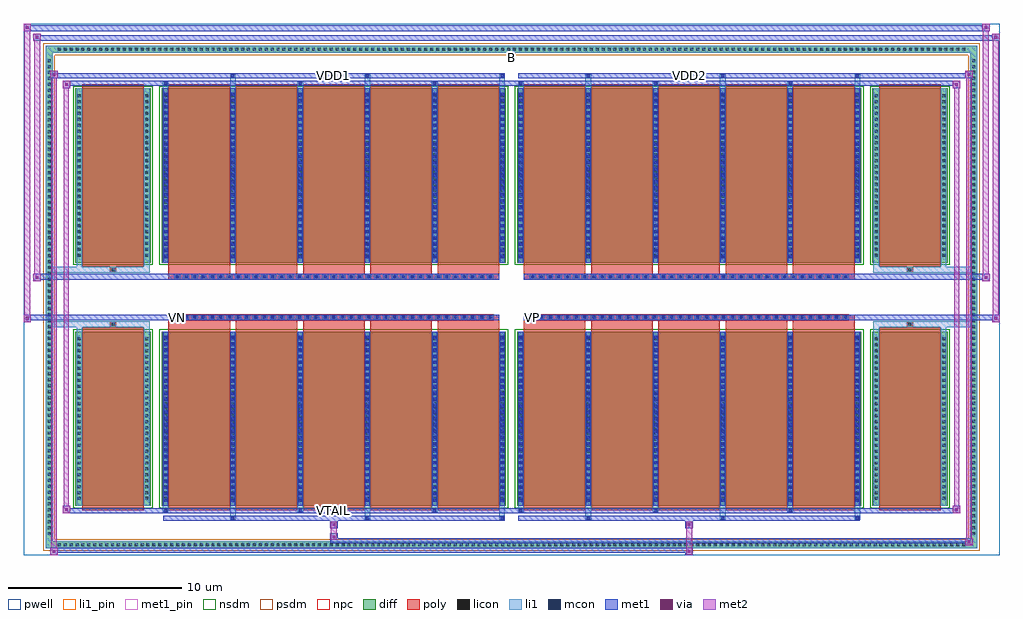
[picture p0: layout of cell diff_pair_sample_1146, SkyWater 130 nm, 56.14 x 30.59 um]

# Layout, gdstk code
import gdstk
lib = gdstk.Library(unit=1e-6, precision=5e-09)
def R(c, l, rs):  # rectangles x0, y0, x1, y1
    for r in rs: c.add(gdstk.rectangle(r[:2], r[2:], *l))
def A(c, l, x, y, w, h, nx, ny, dx, dy):  # array of equal rectangles
    R(c, l, [(x+i*dx, y+j*dy, x+i*dx+w, y+j*dy+h) for i in range(nx) for j in range(ny)])
def P(c, l, *ps):  # polygons
    for p in ps: c.add(gdstk.Polygon(p, *l))
pwell = (64, 44)
diff = (65, 20)
poly = (66, 20)
licon = (66, 44)
li1_pin = (67, 16)
li1 = (67, 20)
mcon = (67, 44)
met1_pin = (68, 16)
met1 = (68, 20)
via = (68, 44)
met2 = (69, 20)
nsdm = (93, 44)
psdm = (94, 20)
npc = (95, 20)

diff_pair_sample_1146 = lib.new_cell('diff_pair_sample_1146')
R(diff_pair_sample_1146, pwell, [(-28.07,-14.86,28.07,15.73), (-25.39,-13.05,-0.01,-0.805), (0.01,-13.05,25.39,-0.805), (-25.39,0.805,-0.01,13.05), (0.01,0.805,25.39,13.05)])
A(diff_pair_sample_1146, diff, -26.215, -14.46, 0.41, 0.41, 154, 2, 0.34, 28.51)
A(diff_pair_sample_1146, diff, -26.8, -13.805, 0.41, 0.41, 1, 81, 0, 0.34)
A(diff_pair_sample_1146, diff, 26.39, -13.805, 0.41, 0.41, 1, 81, 0, 0.34)
R(diff_pair_sample_1146, diff, [(-26.215,-14.46,26.215,-14.05), (-26.8,-13.805,-26.39,13.805), (26.39,-13.805,26.8,13.805), (-25.08,-12.005,-20.76,-1.985), (-20.12,-12.005,-0.32,-1.985), (0.32,-12.005,20.12,-1.985), (20.76,-12.005,25.08,-1.985), (-25.08,1.985,-20.76,12.005), (-20.12,1.985,-0.32,12.005), (0.32,1.985,20.12,12.005), (20.76,1.985,25.08,12.005), (-26.215,14.05,26.215,14.46)])
P(diff_pair_sample_1146, diff, [(26.8,14.46),(-26.8,14.46),(-26.8,-14.05),(-26.39,-14.05),(-26.39,14.05),(26.39,14.05),(26.39,-14.05),(-26.39,-14.05),(-26.8,-14.05),(-26.8,-14.46),(26.8,-14.46)])
A(diff_pair_sample_1146, poly, -19.73, -12.255, 3.54, 10.52, 5, 2, 3.87, 13.99)
A(diff_pair_sample_1146, poly, 0.71, -12.255, 3.54, 10.52, 5, 2, 3.87, 13.99)
A(diff_pair_sample_1146, poly, -19.73, -1.735, 3.54, 0.4, 5, 2, 3.87, 3.07)
A(diff_pair_sample_1146, poly, 0.71, -1.735, 3.54, 0.4, 5, 2, 3.87, 3.07)
A(diff_pair_sample_1146, poly, -19.385, -1.335, 0.33, 0.33, 37, 2, 0.5, 2.34)
A(diff_pair_sample_1146, poly, 1.055, -1.335, 0.33, 0.33, 37, 2, 0.5, 2.34)
R(diff_pair_sample_1146, poly, [(-24.69,-12.255,-21.15,-1.735), (21.15,-12.255,24.69,-1.735), (-23.085,-1.735,-22.755,-1.405), (-23.085,-1.735,-22.755,-1.405), (22.755,-1.735,23.085,-1.405), (22.755,-1.735,23.085,-1.405), (-19.73,-1.335,-0.71,-1.005), (0.71,-1.335,19.73,-1.005), (-19.73,1.005,-0.71,1.335), (0.71,1.005,19.73,1.335), (-23.085,1.405,-22.755,1.735), (-23.085,1.405,-22.755,1.735), (22.755,1.405,23.085,1.735), (22.755,1.405,23.085,1.735), (-24.69,1.735,-21.15,12.255), (21.15,1.735,24.69,12.255)])
A(diff_pair_sample_1146, licon, -26.095, -14.34, 0.17, 0.17, 154, 2, 0.34, 28.51)
A(diff_pair_sample_1146, licon, -26.68, -13.685, 0.17, 0.17, 1, 81, 0, 0.34)
A(diff_pair_sample_1146, licon, 26.51, -13.685, 0.17, 0.17, 1, 81, 0, 0.34)
A(diff_pair_sample_1146, licon, -24.94, -11.67, 0.17, 0.17, 1, 28, 0, 0.34)
A(diff_pair_sample_1146, licon, -21.07, -11.67, 0.17, 0.17, 1, 28, 0, 0.34)
A(diff_pair_sample_1146, licon, -19.98, -11.67, 0.17, 0.17, 6, 28, 3.87, 0.34)
A(diff_pair_sample_1146, licon, 0.46, -11.67, 0.17, 0.17, 6, 28, 3.87, 0.34)
A(diff_pair_sample_1146, licon, 20.9, -11.67, 0.17, 0.17, 1, 28, 0, 0.34)
A(diff_pair_sample_1146, licon, 24.77, -11.67, 0.17, 0.17, 1, 28, 0, 0.34)
A(diff_pair_sample_1146, licon, -19.305, -1.255, 0.17, 0.17, 37, 2, 0.5, 2.34)
A(diff_pair_sample_1146, licon, 1.135, -1.255, 0.17, 0.17, 37, 2, 0.5, 2.34)
A(diff_pair_sample_1146, licon, -24.94, 2.32, 0.17, 0.17, 1, 28, 0, 0.34)
A(diff_pair_sample_1146, licon, -21.07, 2.32, 0.17, 0.17, 1, 28, 0, 0.34)
A(diff_pair_sample_1146, licon, -19.98, 2.32, 0.17, 0.17, 6, 28, 3.87, 0.34)
A(diff_pair_sample_1146, licon, 0.46, 2.32, 0.17, 0.17, 6, 28, 3.87, 0.34)
A(diff_pair_sample_1146, licon, 20.9, 2.32, 0.17, 0.17, 1, 28, 0, 0.34)
A(diff_pair_sample_1146, licon, 24.77, 2.32, 0.17, 0.17, 1, 28, 0, 0.34)
R(diff_pair_sample_1146, licon, [(-23.005,-1.655,-22.835,-1.485), (22.835,-1.655,23.005,-1.485), (-23.005,1.485,-22.835,1.655), (22.835,1.485,23.005,1.655)])
R(diff_pair_sample_1146, li1_pin, [(-0.25,13.55,0.25,14.05)])
A(diff_pair_sample_1146, li1, -26.175, -14.42, 0.33, 0.33, 154, 2, 0.34, 28.51)
A(diff_pair_sample_1146, li1, -26.76, -13.765, 0.33, 0.33, 1, 81, 0, 0.34)
A(diff_pair_sample_1146, li1, 26.43, -13.765, 0.33, 0.33, 1, 81, 0, 0.34)
A(diff_pair_sample_1146, li1, -16.19, -12.81, 0.33, 0.805, 3, 2, 7.74, 24.815)
A(diff_pair_sample_1146, li1, -16.11, -12.81, 0.17, 0.17, 3, 2, 7.74, 25.45)
A(diff_pair_sample_1146, li1, 4.25, -12.81, 0.33, 0.805, 3, 2, 7.74, 24.815)
A(diff_pair_sample_1146, li1, 4.33, -12.81, 0.17, 0.17, 3, 2, 7.74, 25.45)
A(diff_pair_sample_1146, li1, -20.06, -12.38, 0.33, 0.375, 3, 2, 7.74, 24.385)
A(diff_pair_sample_1146, li1, -19.98, -12.38, 0.17, 0.17, 3, 2, 7.74, 24.59)
A(diff_pair_sample_1146, li1, 0.38, -12.38, 0.33, 0.375, 3, 2, 7.74, 24.385)
A(diff_pair_sample_1146, li1, 0.46, -12.38, 0.17, 0.17, 3, 2, 7.74, 24.59)
A(diff_pair_sample_1146, li1, -20.06, -12.005, 0.33, 10.02, 6, 2, 3.87, 13.99)
A(diff_pair_sample_1146, li1, 0.38, -12.005, 0.33, 10.02, 6, 2, 3.87, 13.99)
A(diff_pair_sample_1146, li1, -19.98, -11.76, 0.17, 0.17, 6, 27, 3.87, 0.36)
A(diff_pair_sample_1146, li1, -19.98, -11.76, 0.17, 9.53, 6, 2, 3.87, 13.99)
A(diff_pair_sample_1146, li1, 0.46, -11.76, 0.17, 0.17, 6, 27, 3.87, 0.36)
A(diff_pair_sample_1146, li1, 0.46, -11.76, 0.17, 9.53, 6, 2, 3.87, 13.99)
A(diff_pair_sample_1146, li1, -25.02, -11.75, 0.33, 0.33, 1, 28, 0, 0.34)
A(diff_pair_sample_1146, li1, -21.15, -11.75, 0.33, 0.33, 1, 28, 0, 0.34)
A(diff_pair_sample_1146, li1, -20.06, -11.75, 0.33, 0.33, 6, 28, 3.87, 0.34)
A(diff_pair_sample_1146, li1, 0.38, -11.75, 0.33, 0.33, 6, 28, 3.87, 0.34)
A(diff_pair_sample_1146, li1, 20.82, -11.75, 0.33, 0.33, 1, 28, 0, 0.34)
A(diff_pair_sample_1146, li1, 24.69, -11.75, 0.33, 0.33, 1, 28, 0, 0.34)
A(diff_pair_sample_1146, li1, -19.385, -1.335, 0.33, 0.33, 37, 2, 0.5, 2.34)
A(diff_pair_sample_1146, li1, 1.055, -1.335, 0.33, 0.33, 37, 2, 0.5, 2.34)
A(diff_pair_sample_1146, li1, -19.98, 2.23, 0.17, 0.17, 6, 27, 3.87, 0.36)
A(diff_pair_sample_1146, li1, 0.46, 2.23, 0.17, 0.17, 6, 27, 3.87, 0.36)
A(diff_pair_sample_1146, li1, -25.02, 2.24, 0.33, 0.33, 1, 28, 0, 0.34)
A(diff_pair_sample_1146, li1, -21.15, 2.24, 0.33, 0.33, 1, 28, 0, 0.34)
A(diff_pair_sample_1146, li1, -20.06, 2.24, 0.33, 0.33, 6, 28, 3.87, 0.34)
A(diff_pair_sample_1146, li1, 0.38, 2.24, 0.33, 0.33, 6, 28, 3.87, 0.34)
A(diff_pair_sample_1146, li1, 20.82, 2.24, 0.33, 0.33, 1, 28, 0, 0.34)
A(diff_pair_sample_1146, li1, 24.69, 2.24, 0.33, 0.33, 1, 28, 0, 0.34)
R(diff_pair_sample_1146, li1, [(-26.8,-14.46,-26.39,-14.05), (-26.8,-14.46,-26.39,-14.05), (-26.39,-14.46,26.39,-14.05), (26.39,-14.46,26.8,-14.05), (26.39,-14.46,26.8,-14.05), (-26.8,-14.05,-26.39,14.05), (26.39,-14.05,26.8,14.05), (-25.02,-12.005,-24.69,-1.985), (-21.15,-12.005,-20.82,-1.985), (20.82,-12.005,21.15,-1.985), (24.69,-12.005,25.02,-1.985), (-25.02,-1.985,-24.69,-1.405), (-21.15,-1.985,-20.82,-1.405), (20.82,-1.985,21.15,-1.405), (24.69,-1.985,25.02,-1.405), (-26.8,-1.735,-23.085,-1.405), (-25.02,-1.735,-23.085,-1.405), (-23.085,-1.735,-22.755,-1.405), (-22.755,-1.735,-20.82,-1.405), (20.82,-1.735,22.755,-1.405), (22.755,-1.735,23.085,-1.405), (22.755,-1.735,26.8,-1.405), (23.085,-1.735,25.02,-1.405), (-26.8,1.405,-23.085,1.735), (-25.02,1.405,-23.085,1.735), (-25.02,1.405,-24.69,1.985), (-23.085,1.405,-22.755,1.735), (-22.755,1.405,-20.82,1.735), (-21.15,1.405,-20.82,1.985), (20.82,1.405,22.755,1.735), (20.82,1.405,21.15,1.985), (22.755,1.405,23.085,1.735), (22.755,1.405,26.8,1.735), (23.085,1.405,25.02,1.735), (24.69,1.405,25.02,1.985), (-25.02,1.985,-24.69,12.005), (-21.15,1.985,-20.82,12.005), (20.82,1.985,21.15,12.005), (24.69,1.985,25.02,12.005), (-26.8,14.05,-26.39,14.46), (-26.8,14.05,-26.39,14.46), (-26.39,14.05,26.39,14.46), (26.39,14.05,26.8,14.46), (26.39,14.05,26.8,14.46)])
A(diff_pair_sample_1146, mcon, -16.11, -12.81, 0.17, 0.17, 3, 2, 7.74, 25.45)
A(diff_pair_sample_1146, mcon, 4.33, -12.81, 0.17, 0.17, 3, 2, 7.74, 25.45)
A(diff_pair_sample_1146, mcon, -19.98, -12.38, 0.17, 0.17, 3, 2, 7.74, 24.59)
A(diff_pair_sample_1146, mcon, 0.46, -12.38, 0.17, 0.17, 3, 2, 7.74, 24.59)
A(diff_pair_sample_1146, mcon, -19.98, -11.76, 0.17, 0.17, 6, 27, 3.87, 0.36)
A(diff_pair_sample_1146, mcon, 0.46, -11.76, 0.17, 0.17, 6, 27, 3.87, 0.36)
A(diff_pair_sample_1146, mcon, -19.305, -1.255, 0.17, 0.17, 37, 2, 0.5, 2.34)
A(diff_pair_sample_1146, mcon, 1.135, -1.255, 0.17, 0.17, 37, 2, 0.5, 2.34)
A(diff_pair_sample_1146, mcon, -19.98, 2.23, 0.17, 0.17, 6, 27, 3.87, 0.36)
A(diff_pair_sample_1146, mcon, 0.46, 2.23, 0.17, 0.17, 6, 27, 3.87, 0.36)
R(diff_pair_sample_1146, met1_pin, [(-10.355,-12.42,-10.085,-12.15), (-19.355,-1.295,-19.085,-1.025), (1.085,-1.295,1.355,-1.025), (-10.355,12.6,-10.085,12.87), (10.085,12.6,10.355,12.87)])
A(diff_pair_sample_1146, met1, -16.17, -12.87, 0.29, 0.29, 3, 2, 7.74, 25.45)
A(diff_pair_sample_1146, met1, 4.27, -12.87, 0.29, 0.29, 3, 2, 7.74, 25.45)
A(diff_pair_sample_1146, met1, -20.04, -12.44, 0.29, 0.29, 3, 2, 7.74, 24.59)
A(diff_pair_sample_1146, met1, 0.4, -12.44, 0.29, 0.29, 3, 2, 7.74, 24.59)
A(diff_pair_sample_1146, met1, -20.04, -12.005, 0.29, 10.02, 6, 2, 3.87, 13.99)
A(diff_pair_sample_1146, met1, 0.4, -12.005, 0.29, 10.02, 6, 2, 3.87, 13.99)
A(diff_pair_sample_1146, met1, -20.04, -11.82, 0.29, 0.29, 6, 27, 3.87, 0.36)
A(diff_pair_sample_1146, met1, 0.4, -11.82, 0.29, 0.29, 6, 27, 3.87, 0.36)
A(diff_pair_sample_1146, met1, -19.365, -1.315, 0.29, 0.29, 37, 2, 0.5, 2.34)
A(diff_pair_sample_1146, met1, 1.075, -1.315, 0.29, 0.29, 37, 2, 0.5, 2.34)
A(diff_pair_sample_1146, met1, -20.04, 2.17, 0.29, 0.29, 6, 27, 3.87, 0.36)
A(diff_pair_sample_1146, met1, 0.4, 2.17, 0.29, 0.29, 6, 27, 3.87, 0.36)
R(diff_pair_sample_1146, met1, [(-26.53,-14.86,-26.1,-14.43), (10.005,-14.86,10.435,-14.43), (-26.53,-14.72,10.435,-14.43), (26.1,-14.29,26.53,-13.86), (-10.435,-14.15,26.53,-13.86), (-10.435,-14.01,-10.005,-13.58), (-10.435,-13.3,-10.005,-12.87), (10.005,-13.3,10.435,-12.87), (-20.04,-12.87,-0.4,-12.58), (0.4,-12.87,20.04,-12.58), (-25.82,-12.44,-25.39,-12.01), (-25.82,-12.44,-20.04,-12.15), (-20.04,-12.44,-0.4,-12.15), (-0.4,-12.44,0.4,-12.15), (0.4,-12.44,20.04,-12.15), (20.04,-12.44,25.82,-12.15), (25.39,-12.44,25.82,-12.01), (-28.07,-1.435,-27.64,-1.005), (27.64,-1.435,28.07,-1.005), (-28.07,-1.335,-0.71,-1.005), (-19.73,-1.335,-0.71,-1.005), (0.71,-1.335,19.73,-1.005), (0.71,-1.335,28.07,-1.005), (-27.5,0.905,-27.07,1.335), (27.07,0.905,27.5,1.335), (-27.5,1.005,-19.73,1.335), (-19.73,1.005,-0.71,1.335), (0.71,1.005,19.73,1.335), (19.73,1.005,27.5,1.335), (-25.82,12.01,-25.39,12.44), (25.39,12.01,25.82,12.44), (-25.82,12.15,-20.04,12.44), (-20.04,12.15,-0.4,12.44), (-0.4,12.15,0.4,12.44), (0.4,12.15,20.04,12.44), (20.04,12.15,25.82,12.44), (-26.53,12.58,-26.1,13.01), (-26.53,12.58,-20.04,12.87), (-20.04,12.58,-0.4,12.87), (0.4,12.58,20.04,12.87), (20.04,12.58,26.53,12.87), (26.1,12.58,26.53,13.01), (-27.5,14.73,-27.07,15.16), (-27.5,14.73,-25.39,15.06), (-25.39,14.73,25.39,15.06), (25.39,14.73,28.07,15.06), (27.64,14.73,28.07,15.16), (-28.07,15.3,-27.64,15.73), (-28.07,15.3,-25.39,15.63), (-25.39,15.3,25.39,15.63), (25.39,15.3,27.5,15.63), (27.07,15.3,27.5,15.73)])
R(diff_pair_sample_1146, via, [(-26.39,-14.72,-26.24,-14.57), (10.145,-14.72,10.295,-14.57), (26.24,-14.15,26.39,-14), (-10.295,-13.87,-10.145,-13.72), (-10.295,-13.16,-10.145,-13.01), (10.145,-13.16,10.295,-13.01), (-25.68,-12.3,-25.53,-12.15), (25.53,-12.3,25.68,-12.15), (-27.93,-1.295,-27.78,-1.145), (27.78,-1.295,27.93,-1.145), (-27.36,1.045,-27.21,1.195), (27.21,1.045,27.36,1.195), (-25.68,12.15,-25.53,12.3), (25.53,12.15,25.68,12.3), (-26.39,12.72,-26.24,12.87), (26.24,12.72,26.39,12.87), (-27.36,14.87,-27.21,15.02), (27.78,14.87,27.93,15.02), (-27.93,15.44,-27.78,15.59), (27.21,15.44,27.36,15.59)])
R(diff_pair_sample_1146, met2, [(-26.53,-14.86,-26.1,-14.43), (-26.46,-14.86,-26.17,13.01), (-26.17,-14.86,-26.1,-14.43), (-26.48,-14.81,-26.15,-14.48), (10.055,-14.81,10.385,-14.48), (10.055,-14.48,10.385,-13.25), (26.1,-14.29,26.53,-13.86), (26.17,-14.29,26.46,13.01), (26.46,-14.29,26.53,-13.86), (26.15,-14.24,26.48,-13.91), (-10.385,-13.96,-10.055,-13.63), (-10.385,-13.63,-10.055,-13.25), (-10.385,-13.25,-10.055,-12.92), (10.055,-13.25,10.385,-12.92), (-25.82,-12.44,-25.39,-12.01), (-25.75,-12.44,-25.46,12.44), (-25.46,-12.44,-25.39,-12.01), (25.39,-12.44,25.82,-12.01), (25.46,-12.44,25.75,12.44), (25.75,-12.44,25.82,-12.01), (-25.77,-12.39,-25.44,-12.06), (25.44,-12.39,25.77,-12.06), (-28.07,-1.435,-27.64,-1.005), (-28.02,-1.435,-27.69,15.73), (-27.69,-1.435,-27.64,-1.005), (27.64,-1.435,28.07,-1.005), (27.69,-1.435,28.02,15.16), (28.02,-1.435,28.07,-1.005), (-28.02,-1.385,-27.69,-1.055), (27.69,-1.385,28.02,-1.055), (-27.5,0.905,-27.07,1.335), (-27.45,0.905,-27.12,15.16), (-27.12,0.905,-27.07,1.335), (27.07,0.905,27.5,1.335), (27.12,0.905,27.45,15.73), (27.45,0.905,27.5,1.335), (-27.45,0.955,-27.12,1.285), (27.12,0.955,27.45,1.285), (-25.82,12.01,-25.39,12.44), (-25.46,12.01,-25.39,12.44), (25.39,12.01,25.82,12.44), (25.75,12.01,25.82,12.44), (-25.77,12.06,-25.44,12.39), (25.44,12.06,25.77,12.39), (-26.53,12.58,-26.1,13.01), (-26.17,12.58,-26.1,13.01), (26.1,12.58,26.53,13.01), (26.46,12.58,26.53,13.01), (-26.48,12.63,-26.15,12.96), (26.15,12.63,26.48,12.96), (-27.5,14.73,-27.07,15.16), (-27.12,14.73,-27.07,15.16), (27.64,14.73,28.07,15.16), (28.02,14.73,28.07,15.16), (-27.45,14.78,-27.12,15.11), (27.69,14.78,28.02,15.11), (-28.07,15.3,-27.64,15.73), (-27.69,15.3,-27.64,15.73), (27.07,15.3,27.5,15.73), (27.45,15.3,27.5,15.73), (-28.02,15.35,-27.69,15.68), (27.12,15.35,27.45,15.68)])
R(diff_pair_sample_1146, nsdm, [(-25.21,-12.135,-20.63,-1.855), (-20.25,-12.135,-0.19,-1.855), (0.19,-12.135,20.25,-1.855), (20.63,-12.135,25.21,-1.855), (-25.21,1.855,-20.63,12.135), (-20.25,1.855,-0.19,12.135), (0.19,1.855,20.25,12.135), (20.63,1.855,25.21,12.135)])
P(diff_pair_sample_1146, psdm, [(26.93,14.59),(-26.93,14.59),(-26.93,-13.92),(-26.26,-13.92),(-26.26,13.92),(26.26,13.92),(26.26,-13.92),(-26.26,-13.92),(-26.93,-13.92),(-26.93,-14.59),(26.93,-14.59)])
A(diff_pair_sample_1146, npc, -19.405, -1.355, 0.37, 0.37, 37, 2, 0.5, 2.34)
A(diff_pair_sample_1146, npc, 1.035, -1.355, 0.37, 0.37, 37, 2, 0.5, 2.34)
R(diff_pair_sample_1146, npc, [(-23.105,-1.755,-22.735,-1.385), (22.735,-1.755,23.105,-1.385), (-19.405,-1.355,-18.535,-0.985), (-19.405,-1.355,-18.535,-0.985), (-18.905,-1.355,-18.035,-0.985), (-18.905,-1.355,-18.035,-0.985), (-18.405,-1.355,-17.535,-0.985), (-18.405,-1.355,-17.535,-0.985), (-17.905,-1.355,-17.035,-0.985), (-17.905,-1.355,-17.035,-0.985), (-17.405,-1.355,-16.535,-0.985), (-17.405,-1.355,-16.535,-0.985), (-16.905,-1.355,-16.035,-0.985), (-16.905,-1.355,-16.035,-0.985), (-16.405,-1.355,-15.535,-0.985), (-16.405,-1.355,-15.535,-0.985), (-15.905,-1.355,-15.035,-0.985), (-15.905,-1.355,-15.035,-0.985), (-15.405,-1.355,-14.535,-0.985), (-15.405,-1.355,-14.535,-0.985), (-14.905,-1.355,-14.035,-0.985), (-14.905,-1.355,-14.035,-0.985), (-14.405,-1.355,-13.535,-0.985), (-14.405,-1.355,-13.535,-0.985), (-13.905,-1.355,-13.035,-0.985), (-13.905,-1.355,-13.035,-0.985), (-13.405,-1.355,-12.535,-0.985), (-13.405,-1.355,-12.535,-0.985), (-12.905,-1.355,-12.035,-0.985), (-12.905,-1.355,-12.035,-0.985), (-12.405,-1.355,-11.535,-0.985), (-12.405,-1.355,-11.535,-0.985), (-11.905,-1.355,-11.035,-0.985), (-11.905,-1.355,-11.035,-0.985), (-11.405,-1.355,-10.535,-0.985), (-11.405,-1.355,-10.535,-0.985), (-10.905,-1.355,-10.035,-0.985), (-10.905,-1.355,-10.035,-0.985), (-10.405,-1.355,-9.535,-0.985), (-10.405,-1.355,-9.535,-0.985), (-9.905,-1.355,-9.035,-0.985), (-9.905,-1.355,-9.035,-0.985), (-9.405,-1.355,-8.535,-0.985), (-9.405,-1.355,-8.535,-0.985), (-8.905,-1.355,-8.035,-0.985), (-8.905,-1.355,-8.035,-0.985), (-8.405,-1.355,-7.535,-0.985), (-8.405,-1.355,-7.535,-0.985), (-7.905,-1.355,-7.035,-0.985), (-7.905,-1.355,-7.035,-0.985), (-7.405,-1.355,-6.535,-0.985), (-7.405,-1.355,-6.535,-0.985), (-6.905,-1.355,-6.035,-0.985), (-6.905,-1.355,-6.035,-0.985), (-6.405,-1.355,-5.535,-0.985), (-6.405,-1.355,-5.535,-0.985), (-5.905,-1.355,-5.035,-0.985), (-5.905,-1.355,-5.035,-0.985), (-5.405,-1.355,-4.535,-0.985), (-5.405,-1.355,-4.535,-0.985), (-4.905,-1.355,-4.035,-0.985), (-4.905,-1.355,-4.035,-0.985), (-4.405,-1.355,-3.535,-0.985), (-4.405,-1.355,-3.535,-0.985), (-3.905,-1.355,-3.035,-0.985), (-3.905,-1.355,-3.035,-0.985), (-3.405,-1.355,-2.535,-0.985), (-3.405,-1.355,-2.535,-0.985), (-2.905,-1.355,-2.035,-0.985), (-2.905,-1.355,-2.035,-0.985), (-2.405,-1.355,-1.535,-0.985), (-2.405,-1.355,-1.535,-0.985), (-1.905,-1.355,-1.035,-0.985), (-1.905,-1.355,-1.035,-0.985), (1.035,-1.355,1.905,-0.985), (1.035,-1.355,1.905,-0.985), (1.535,-1.355,2.405,-0.985), (1.535,-1.355,2.405,-0.985), (2.035,-1.355,2.905,-0.985), (2.035,-1.355,2.905,-0.985), (2.535,-1.355,3.405,-0.985), (2.535,-1.355,3.405,-0.985), (3.035,-1.355,3.905,-0.985), (3.035,-1.355,3.905,-0.985), (3.535,-1.355,4.405,-0.985), (3.535,-1.355,4.405,-0.985), (4.035,-1.355,4.905,-0.985), (4.035,-1.355,4.905,-0.985), (4.535,-1.355,5.405,-0.985), (4.535,-1.355,5.405,-0.985), (5.035,-1.355,5.905,-0.985), (5.035,-1.355,5.905,-0.985), (5.535,-1.355,6.405,-0.985), (5.535,-1.355,6.405,-0.985), (6.035,-1.355,6.905,-0.985), (6.035,-1.355,6.905,-0.985), (6.535,-1.355,7.405,-0.985), (6.535,-1.355,7.405,-0.985), (7.035,-1.355,7.905,-0.985), (7.035,-1.355,7.905,-0.985), (7.535,-1.355,8.405,-0.985), (7.535,-1.355,8.405,-0.985), (8.035,-1.355,8.905,-0.985), (8.035,-1.355,8.905,-0.985), (8.535,-1.355,9.405,-0.985), (8.535,-1.355,9.405,-0.985), (9.035,-1.355,9.905,-0.985), (9.035,-1.355,9.905,-0.985), (9.535,-1.355,10.405,-0.985), (9.535,-1.355,10.405,-0.985), (10.035,-1.355,10.905,-0.985), (10.035,-1.355,10.905,-0.985), (10.535,-1.355,11.405,-0.985), (10.535,-1.355,11.405,-0.985), (11.035,-1.355,11.905,-0.985), (11.035,-1.355,11.905,-0.985), (11.535,-1.355,12.405,-0.985), (11.535,-1.355,12.405,-0.985), (12.035,-1.355,12.905,-0.985), (12.035,-1.355,12.905,-0.985), (12.535,-1.355,13.405,-0.985), (12.535,-1.355,13.405,-0.985), (13.035,-1.355,13.905,-0.985), (13.035,-1.355,13.905,-0.985), (13.535,-1.355,14.405,-0.985), (13.535,-1.355,14.405,-0.985), (14.035,-1.355,14.905,-0.985), (14.035,-1.355,14.905,-0.985), (14.535,-1.355,15.405,-0.985), (14.535,-1.355,15.405,-0.985), (15.035,-1.355,15.905,-0.985), (15.035,-1.355,15.905,-0.985), (15.535,-1.355,16.405,-0.985), (15.535,-1.355,16.405,-0.985), (16.035,-1.355,16.905,-0.985), (16.035,-1.355,16.905,-0.985), (16.535,-1.355,17.405,-0.985), (16.535,-1.355,17.405,-0.985), (17.035,-1.355,17.905,-0.985), (17.035,-1.355,17.905,-0.985), (17.535,-1.355,18.405,-0.985), (17.535,-1.355,18.405,-0.985), (18.035,-1.355,18.905,-0.985), (18.035,-1.355,18.905,-0.985), (18.535,-1.355,19.405,-0.985), (18.535,-1.355,19.405,-0.985), (-19.405,0.985,-18.535,1.355), (-19.405,0.985,-18.535,1.355), (-18.905,0.985,-18.035,1.355), (-18.905,0.985,-18.035,1.355), (-18.405,0.985,-17.535,1.355), (-18.405,0.985,-17.535,1.355), (-17.905,0.985,-17.035,1.355), (-17.905,0.985,-17.035,1.355), (-17.405,0.985,-16.535,1.355), (-17.405,0.985,-16.535,1.355), (-16.905,0.985,-16.035,1.355), (-16.905,0.985,-16.035,1.355), (-16.405,0.985,-15.535,1.355), (-16.405,0.985,-15.535,1.355), (-15.905,0.985,-15.035,1.355), (-15.905,0.985,-15.035,1.355), (-15.405,0.985,-14.535,1.355), (-15.405,0.985,-14.535,1.355), (-14.905,0.985,-14.035,1.355), (-14.905,0.985,-14.035,1.355), (-14.405,0.985,-13.535,1.355), (-14.405,0.985,-13.535,1.355), (-13.905,0.985,-13.035,1.355), (-13.905,0.985,-13.035,1.355), (-13.405,0.985,-12.535,1.355), (-13.405,0.985,-12.535,1.355), (-12.905,0.985,-12.035,1.355), (-12.905,0.985,-12.035,1.355), (-12.405,0.985,-11.535,1.355), (-12.405,0.985,-11.535,1.355), (-11.905,0.985,-11.035,1.355), (-11.905,0.985,-11.035,1.355), (-11.405,0.985,-10.535,1.355), (-11.405,0.985,-10.535,1.355), (-10.905,0.985,-10.035,1.355), (-10.905,0.985,-10.035,1.355), (-10.405,0.985,-9.535,1.355), (-10.405,0.985,-9.535,1.355), (-9.905,0.985,-9.035,1.355), (-9.905,0.985,-9.035,1.355), (-9.405,0.985,-8.535,1.355), (-9.405,0.985,-8.535,1.355), (-8.905,0.985,-8.035,1.355), (-8.905,0.985,-8.035,1.355), (-8.405,0.985,-7.535,1.355), (-8.405,0.985,-7.535,1.355), (-7.905,0.985,-7.035,1.355), (-7.905,0.985,-7.035,1.355), (-7.405,0.985,-6.535,1.355), (-7.405,0.985,-6.535,1.355), (-6.905,0.985,-6.035,1.355), (-6.905,0.985,-6.035,1.355), (-6.405,0.985,-5.535,1.355), (-6.405,0.985,-5.535,1.355), (-5.905,0.985,-5.035,1.355), (-5.905,0.985,-5.035,1.355), (-5.405,0.985,-4.535,1.355), (-5.405,0.985,-4.535,1.355), (-4.905,0.985,-4.035,1.355), (-4.905,0.985,-4.035,1.355), (-4.405,0.985,-3.535,1.355), (-4.405,0.985,-3.535,1.355), (-3.905,0.985,-3.035,1.355), (-3.905,0.985,-3.035,1.355), (-3.405,0.985,-2.535,1.355), (-3.405,0.985,-2.535,1.355), (-2.905,0.985,-2.035,1.355), (-2.905,0.985,-2.035,1.355), (-2.405,0.985,-1.535,1.355), (-2.405,0.985,-1.535,1.355), (-1.905,0.985,-1.035,1.355), (-1.905,0.985,-1.035,1.355), (1.035,0.985,1.905,1.355), (1.035,0.985,1.905,1.355), (1.535,0.985,2.405,1.355), (1.535,0.985,2.405,1.355), (2.035,0.985,2.905,1.355), (2.035,0.985,2.905,1.355), (2.535,0.985,3.405,1.355), (2.535,0.985,3.405,1.355), (3.035,0.985,3.905,1.355), (3.035,0.985,3.905,1.355), (3.535,0.985,4.405,1.355), (3.535,0.985,4.405,1.355), (4.035,0.985,4.905,1.355), (4.035,0.985,4.905,1.355), (4.535,0.985,5.405,1.355), (4.535,0.985,5.405,1.355), (5.035,0.985,5.905,1.355), (5.035,0.985,5.905,1.355), (5.535,0.985,6.405,1.355), (5.535,0.985,6.405,1.355), (6.035,0.985,6.905,1.355), (6.035,0.985,6.905,1.355), (6.535,0.985,7.405,1.355), (6.535,0.985,7.405,1.355), (7.035,0.985,7.905,1.355), (7.035,0.985,7.905,1.355), (7.535,0.985,8.405,1.355), (7.535,0.985,8.405,1.355), (8.035,0.985,8.905,1.355), (8.035,0.985,8.905,1.355), (8.535,0.985,9.405,1.355), (8.535,0.985,9.405,1.355), (9.035,0.985,9.905,1.355), (9.035,0.985,9.905,1.355), (9.535,0.985,10.405,1.355), (9.535,0.985,10.405,1.355), (10.035,0.985,10.905,1.355), (10.035,0.985,10.905,1.355), (10.535,0.985,11.405,1.355), (10.535,0.985,11.405,1.355), (11.035,0.985,11.905,1.355), (11.035,0.985,11.905,1.355), (11.535,0.985,12.405,1.355), (11.535,0.985,12.405,1.355), (12.035,0.985,12.905,1.355), (12.035,0.985,12.905,1.355), (12.535,0.985,13.405,1.355), (12.535,0.985,13.405,1.355), (13.035,0.985,13.905,1.355), (13.035,0.985,13.905,1.355), (13.535,0.985,14.405,1.355), (13.535,0.985,14.405,1.355), (14.035,0.985,14.905,1.355), (14.035,0.985,14.905,1.355), (14.535,0.985,15.405,1.355), (14.535,0.985,15.405,1.355), (15.035,0.985,15.905,1.355), (15.035,0.985,15.905,1.355), (15.535,0.985,16.405,1.355), (15.535,0.985,16.405,1.355), (16.035,0.985,16.905,1.355), (16.035,0.985,16.905,1.355), (16.535,0.985,17.405,1.355), (16.535,0.985,17.405,1.355), (17.035,0.985,17.905,1.355), (17.035,0.985,17.905,1.355), (17.535,0.985,18.405,1.355), (17.535,0.985,18.405,1.355), (18.035,0.985,18.905,1.355), (18.035,0.985,18.905,1.355), (18.535,0.985,19.405,1.355), (18.535,0.985,19.405,1.355), (-23.105,1.385,-22.735,1.755), (22.735,1.385,23.105,1.755)])
diff_pair_sample_1146.add(gdstk.Label('VTAIL', (-10.22,-12.285), layer=68, texttype=5))
diff_pair_sample_1146.add(gdstk.Label('VN', (-19.22,-1.16), layer=68, texttype=5))
diff_pair_sample_1146.add(gdstk.Label('VP', (1.22,-1.16), layer=68, texttype=5))
diff_pair_sample_1146.add(gdstk.Label('B', (0,13.8), layer=67, texttype=5))
diff_pair_sample_1146.add(gdstk.Label('VDD2', (10.22,12.735), layer=68, texttype=5))
diff_pair_sample_1146.add(gdstk.Label('VDD1', (-10.22,12.735), layer=68, texttype=5))

lib.write_gds('diff_pair_sample_1146.gds')
